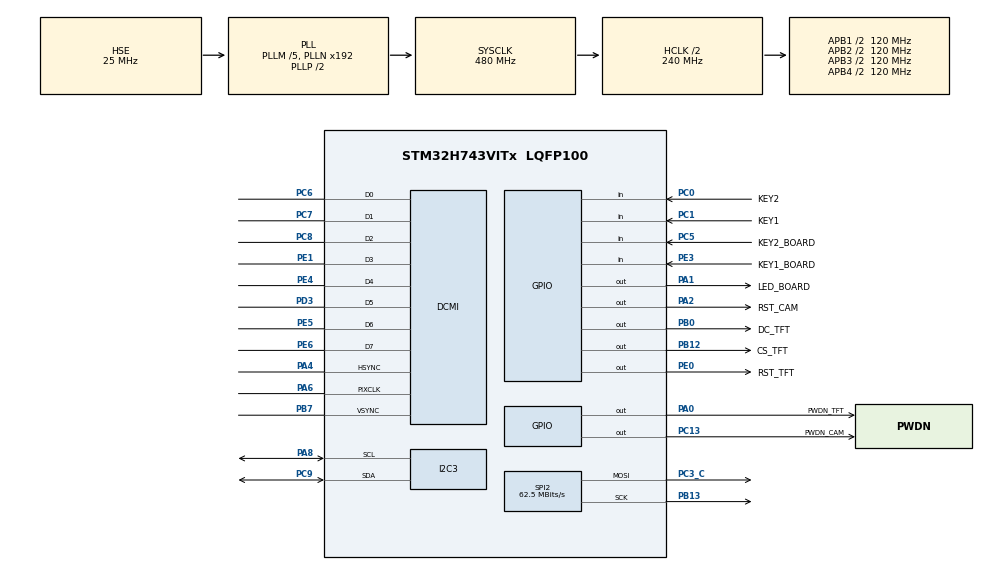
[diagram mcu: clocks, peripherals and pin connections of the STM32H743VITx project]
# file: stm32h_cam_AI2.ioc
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CORTEX_M7.CPU_DCache=Enabled
CORTEX_M7.CPU_ICache=Enabled
DCMI.JPEGMode=DCMI_JPEG_DISABLE
DCMI.PCKPolarity=DCMI_PCKPOLARITY_RISING
Dma.DCMI.1.Direction=DMA_PERIPH_TO_MEMORY
Dma.DCMI.1.EventEnable=DISABLE
Dma.DCMI.1.FIFOMode=DMA_FIFOMODE_ENABLE
Dma.DCMI.1.FIFOThreshold=DMA_FIFO_THRESHOLD_FULL
Dma.DCMI.1.Instance=DMA2_Stream1
Dma.DCMI.1.MemBurst=DMA_MBURST_SINGLE
Dma.DCMI.1.MemDataAlignment=DMA_MDATAALIGN_BYTE
Dma.DCMI.1.MemInc=DMA_MINC_ENABLE
Dma.DCMI.1.Mode=DMA_CIRCULAR
Dma.DCMI.1.PeriphBurst=DMA_PBURST_SINGLE
Dma.DCMI.1.PeriphDataAlignment=DMA_PDATAALIGN_WORD
Dma.DCMI.1.PeriphInc=DMA_PINC_DISABLE
Dma.DCMI.1.Polarity=HAL_DMAMUX_REQ_GEN_RISING
Dma.DCMI.1.Priority=DMA_PRIORITY_VERY_HIGH
Dma.DCMI.1.RequestNumber=1
Dma.DCMI.1.SignalID=NONE
Dma.DCMI.1.SyncEnable=DISABLE
Dma.DCMI.1.SyncPolarity=HAL_DMAMUX_SYNC_NO_EVENT
Dma.DCMI.1.SyncRequestNumber=1
Dma.DCMI.1.SyncSignalID=NONE
Dma.Request0=SPI2_TX
Dma.Request1=DCMI
Dma.SPI2_TX.0.Direction=DMA_MEMORY_TO_PERIPH
Dma.SPI2_TX.0.EventEnable=DISABLE
Dma.SPI2_TX.0.FIFOMode=DMA_FIFOMODE_DISABLE
Dma.SPI2_TX.0.Instance=DMA1_Stream7
Dma.SPI2_TX.0.MemDataAlignment=DMA_MDATAALIGN_BYTE
Dma.SPI2_TX.0.MemInc=DMA_MINC_ENABLE
Dma.SPI2_TX.0.Mode=DMA_NORMAL
Dma.SPI2_TX.0.PeriphDataAlignment=DMA_PDATAALIGN_BYTE
Dma.SPI2_TX.0.PeriphInc=DMA_PINC_DISABLE
Dma.SPI2_TX.0.Polarity=HAL_DMAMUX_REQ_GEN_RISING
Dma.SPI2_TX.0.Priority=DMA_PRIORITY_HIGH
Dma.SPI2_TX.0.RequestNumber=1
Dma.SPI2_TX.0.SignalID=NONE
Dma.SPI2_TX.0.SyncEnable=DISABLE
Dma.SPI2_TX.0.SyncPolarity=HAL_DMAMUX_SYNC_NO_EVENT
Dma.SPI2_TX.0.SyncRequestNumber=1
Dma.SPI2_TX.0.SyncSignalID=NONE
I2C3.Analog_Filter=I2C_ANALOGFILTER_ENABLE
I2C3.I2C_Coeff_DF=0
I2C3.I2C_Fall_Time=300
I2C3.I2C_Rise_Time=300
I2C3.Timing=0x70843A4F
Mcu.Family=STM32H7
Mcu.Name=STM32H743VITx
Mcu.Package=LQFP100
NVIC.DMA1_Stream7_IRQn=true\:0\:0\:false\:false\:true\:false\:true\:true
NVIC.DMA2_Stream1_IRQn=true\:0\:0\:false\:false\:true\:false\:true\:true
NVIC.PriorityGroup=NVIC_PRIORITYGROUP_4
NVIC.SPI2_IRQn=true\:0\:0\:false\:false\:true\:false\:true\:true
PA0.GPIO_Label=PWDN_TFT
PA0.GPIO_ModeDefaultOutputPP=GPIO_MODE_OUTPUT_OD
PA0.GPIO_PuPd=GPIO_PULLUP
PA0.PinState=GPIO_PIN_SET
PA0.Signal=GPIO_Output
PA1.GPIO_Label=LED_BOARD
PA1.Signal=GPIO_Output
PA13\ (JTMS/SWDIO).Mode=Serial_Wire
PA13\ (JTMS/SWDIO).Signal=DEBUG_JTMS-SWDIO
PA14\ (JTCK/SWCLK).Mode=Serial_Wire
PA14\ (JTCK/SWCLK).Signal=DEBUG_JTCK-SWCLK
PA2.GPIO_Label=RST_CAM
PA2.Signal=GPIO_Output
PA4.Mode=Slave_8_bits_External_Synchro
PA4.Signal=DCMI_HSYNC
PA6.Mode=Slave_8_bits_External_Synchro
PA6.Signal=DCMI_PIXCLK
PA8.Mode=I2C
PA8.Signal=I2C3_SCL
PB0.GPIO_Label=DC_TFT
PB0.GPIO_PuPd=GPIO_PULLUP
PB0.PinState=GPIO_PIN_SET
PB0.Signal=GPIO_Output
PB12.GPIO_Label=CS_TFT
PB12.GPIO_PuPd=GPIO_PULLUP
PB12.PinState=GPIO_PIN_SET
PB12.Signal=GPIO_Output
PB13.GPIO_Speed=GPIO_SPEED_FREQ_VERY_HIGH
PB13.Mode=TX_Only_Simplex_Unidirect_Master
PB13.Signal=SPI2_SCK
PB6.Signal=QUADSPI_BK1_NCS
PB7.Mode=Slave_8_bits_External_Synchro
PB7.Signal=DCMI_VSYNC
PC0.GPIO_Label=KEY2
PC0.Signal=GPIO_Input
PC1.GPIO_Label=KEY1
PC1.Signal=GPIO_Input
PC13.GPIO_Label=PWDN_CAM
PC13.PinState=GPIO_PIN_SET
PC13.Signal=GPIO_Output
PC14-OSC32_IN\ (OSC32_IN).Mode=LSE-External-Oscillator
PC14-OSC32_IN\ (OSC32_IN).Signal=RCC_OSC32_IN
PC15-OSC32_OUT\ (OSC32_OUT).Mode=LSE-External-Oscillator
PC15-OSC32_OUT\ (OSC32_OUT).Signal=RCC_OSC32_OUT
PC3_C.GPIO_Speed=GPIO_SPEED_FREQ_VERY_HIGH
PC3_C.Mode=TX_Only_Simplex_Unidirect_Master
PC3_C.Signal=SPI2_MOSI
PC5.GPIO_Label=KEY2_BOARD
PC5.Signal=GPIO_Input
PC6.Mode=Slave_8_bits_External_Synchro
PC6.Signal=DCMI_D0
PC7.Mode=Slave_8_bits_External_Synchro
PC7.Signal=DCMI_D1
PC8.Mode=Slave_8_bits_External_Synchro
PC8.Signal=DCMI_D2
PC9.Mode=I2C
PC9.Signal=I2C3_SDA
PD13.Signal=QUADSPI_BK1_IO3
PD3.Mode=Slave_8_bits_External_Synchro
PD3.Signal=DCMI_D5
PE0.GPIO_Label=RST_TFT
PE0.GPIO_PuPd=GPIO_PULLUP
PE0.PinState=GPIO_PIN_SET
PE0.Signal=GPIO_Output
PE1.Mode=Slave_8_bits_External_Synchro
PE1.Signal=DCMI_D3
PE3.GPIO_Label=KEY1_BOARD
PE3.Signal=GPIO_Input
PE4.Mode=Slave_8_bits_External_Synchro
PE4.Signal=DCMI_D4
PE5.Mode=Slave_8_bits_External_Synchro
PE5.Signal=DCMI_D6
PE6.Mode=Slave_8_bits_External_Synchro
PE6.Signal=DCMI_D7
PH0-OSC_IN\ (PH0).Mode=HSE-External-Oscillator
PH0-OSC_IN\ (PH0).Signal=RCC_OSC_IN
PH1-OSC_OUT\ (PH1).Mode=HSE-External-Oscillator
PH1-OSC_OUT\ (PH1).Signal=RCC_OSC_OUT
ProjectManager.HeapSize=0x800
ProjectManager.StackSize=0x1000
ProjectManager.TargetToolchain=STM32CubeIDE
RCC.ADCFreq_Value=125000000
RCC.APB1CLKDivider=RCC_HCLK_DIV4
RCC.APB1Freq_Value=120000000
RCC.APB2CLKDivider=RCC_HCLK_DIV2
RCC.APB2Freq_Value=120000000
RCC.APB3Freq_Value=120000000
RCC.APB4Freq_Value=120000000
RCC.CortexFreq_Value=480000000
RCC.D1PPRE=RCC_APB3_DIV2
RCC.D2PPRE1=RCC_APB1_DIV2
RCC.D2PPRE2=RCC_APB2_DIV2
RCC.D3PPRE=RCC_APB4_DIV2
RCC.DIVM1=5
RCC.DIVM2=4
RCC.DIVN1=192
RCC.DIVN2=100
RCC.DIVN3=480
RCC.DIVP2=5
RCC.DIVQ1=20
RCC.DIVQ3=8
RCC.FLatency=FLASH_LATENCY_4
RCC.HCLKFreq_Value=240000000
RCC.HPRE=RCC_HCLK_DIV2
RCC.HSE_VALUE=25000000
RCC.PLLFRACN=0
RCC.PLLM=25
RCC.PLLMUL=RCC_PLL_MUL9
RCC.PLLN=432
RCC.PLLQ=9
RCC.PLLSourceVirtual=RCC_PLLSOURCE_HSE
RCC.PRESCALERUSB=RCC_USBCLKSOURCE_PLL_DIV1_5
RCC.PWR_Regulator_Voltage_Scale=PWR_REGULATOR_VOLTAGE_SCALE0
RCC.ProductRev=revV
RCC.RTCClockSelection=RCC_RTCCLKSOURCE_LSE
RCC.SPI123CLockSelection=RCC_SPI123CLKSOURCE_PLL2
RCC.SYSCLKFreq_VALUE=480000000
RCC.SYSCLKSource=RCC_SYSCLKSOURCE_PLLCLK
RCC.SYSCLKSourceVirtual=RCC_SYSCLKSOURCE_PLLCLK
RCC.USBFreq_Value=48000000
SPI2.BaudRatePrescaler=SPI_BAUDRATEPRESCALER_2
SPI2.CalculateBaudRate=62.5 MBits/s
SPI2.DataSize=SPI_DATASIZE_8BIT
SPI2.Direction=SPI_DIRECTION_2LINES_TXONLY
SPI2.Mode=SPI_MODE_MASTER
SPI2.NSSPMode=SPI_NSS_PULSE_ENABLE
SPI2.VirtualType=VM_MASTER
STMicroelectronics.X-CUBE-AI.8.0.0.ActivationBufferSizeList=119048
STMicroelectronics.X-CUBE-AI.8.0.0.ActivationBuffers=pool0
STMicroelectronics.X-CUBE-AI.8.0.0.ActivationNames=pool0
STMicroelectronics.X-CUBE-AI.8.0.0.ActivationSizes=AI_NETWORK_DATA_ACTIVATION_1_SIZE
STMicroelectronics.X-CUBE-AI.8.0.0.ApplicationCcDeviceJjApplication=ApplicationTemplate
STMicroelectronics.X-CUBE-AI.8.0.0.HeapSize=0x800
STMicroelectronics.X-CUBE-AI.8.0.0.InternalRamActivationBufferMaxSize=AI_NETWORK_DATA_ACTIVATIONS_SIZE
STMicroelectronics.X-CUBE-AI.8.0.0.LatestDirectoryUsed-9e746e8aa5f1842845a0ca2c0252ea6c1ed22911906135166e2635fc61705ba6=/home/pavel/STM32CubeIDE/workspace_1.3.0/stm32h_cam_AI2/model
STMicroelectronics.X-CUBE-AI.8.0.0.MaximumNumberOfInputLayer=1
STMicroelectronics.X-CUBE-AI.8.0.0.MaximumNumberOfOutputLayer=1
STMicroelectronics.X-CUBE-AI.8.0.0.MaximumSizeOfInputLayer=1
STMicroelectronics.X-CUBE-AI.8.0.0.MaximumSizeOfOutputLayer=1
STMicroelectronics.X-CUBE-AI.8.0.0.ModelActualCompression-9e746e8aa5f1842845a0ca2c0252ea6c1ed22911906135166e2635fc61705ba6=0.0
STMicroelectronics.X-CUBE-AI.8.0.0.ModelCompression-9e746e8aa5f1842845a0ca2c0252ea6c1ed22911906135166e2635fc61705ba6=None
STMicroelectronics.X-CUBE-AI.8.0.0.ModelFlashOccupation-9e746e8aa5f1842845a0ca2c0252ea6c1ed22911906135166e2635fc61705ba6=872528
STMicroelectronics.X-CUBE-AI.8.0.0.ModelHashList=9e746e8aa5f1842845a0ca2c0252ea6c1ed22911906135166e2635fc61705ba6
STMicroelectronics.X-CUBE-AI.8.0.0.ModelKind-9e746e8aa5f1842845a0ca2c0252ea6c1ed22911906135166e2635fc61705ba6=KERAS
STMicroelectronics.X-CUBE-AI.8.0.0.ModelMacc-9e746e8aa5f1842845a0ca2c0252ea6c1ed22911906135166e2635fc61705ba6=5293712
STMicroelectronics.X-CUBE-AI.8.0.0.ModelName-9e746e8aa5f1842845a0ca2c0252ea6c1ed22911906135166e2635fc61705ba6=network
STMicroelectronics.X-CUBE-AI.8.0.0.ModelNameList=network
STMicroelectronics.X-CUBE-AI.8.0.0.ModelRamOccupation-9e746e8aa5f1842845a0ca2c0252ea6c1ed22911906135166e2635fc61705ba6=119048
STMicroelectronics.X-CUBE-AI.8.0.0.ModelStructureFile-9e746e8aa5f1842845a0ca2c0252ea6c1ed22911906135166e2635fc61705ba6=model/model80x80.h5
STMicroelectronics.X-CUBE-AI.8.0.0.ModelType-9e746e8aa5f1842845a0ca2c0252ea6c1ed22911906135166e2635fc61705ba6=Saved model
STMicroelectronics.X-CUBE-AI.8.0.0.ReadyForCodeGeneration=true
STMicroelectronics.X-CUBE-AI.8.0.0.StackSize=0x1000
STMicroelectronics.X-CUBE-AI.8.0.0.WorkingBufferStartAddrList=0xFFFFFFFF
STMicroelectronics.X-CUBE-AI.8.0.0.XAaCUBEAaAICcArtificialOoIntelligenceJjCore=true
STMicroelectronics.X-CUBE-AI.8.0.0.copyWeightToRam=false
STMicroelectronics.X-CUBE-AI.8.0.0.copyWeightToRam-9e746e8aa5f1842845a0ca2c0252ea6c1ed22911906135166e2635fc61705ba6=false
STMicroelectronics.X-CUBE-AI.8.0.0.customLayerConfigEnabled=false
STMicroelectronics.X-CUBE-AI.8.0.0.customLayerConfigEnabled-9e746e8aa5f1842845a0ca2c0252ea6c1ed22911906135166e2635fc61705ba6=false
STMicroelectronics.X-CUBE-AI.8.0.0.useInputAllocation=true
STMicroelectronics.X-CUBE-AI.8.0.0.useInputAllocation-9e746e8aa5f1842845a0ca2c0252ea6c1ed22911906135166e2635fc61705ba6=true
STMicroelectronics.X-CUBE-AI.8.0.0.useOutputAllocation=true
STMicroelectronics.X-CUBE-AI.8.0.0.useOutputAllocation-9e746e8aa5f1842845a0ca2c0252ea6c1ed22911906135166e2635fc61705ba6=true
VP_CRC_VS_CRC.Mode=CRC_Activate
VP_RTC_VS_RTC_Activate.Mode=RTC_Enabled
VP_STMicroelectronics.X-CUBE-AI_VS_ArtificialOoIntelligenceJjXAaCUBEAaAI_8.0.0.Mode=ArtificialOoIntelligenceJjXAaCUBEAaAI
VP_STMicroelectronics.X-CUBE-AI_VS_DeviceJjApplication_8.0.0.Mode=DeviceJjApplication
board=custom

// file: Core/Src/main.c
/* USER CODE BEGIN Header */
/**
  ******************************************************************************
  * @file           : main.c
  * @brief          : Main program body
  ******************************************************************************
  * @attention
  *
  * Copyright (c) 2022 STMicroelectronics.
  * All rights reserved.
  *
  * This software is licensed under terms that can be found in the LICENSE file
  * in the root directory of this software component.
  * If no LICENSE file comes with this software, it is provided AS-IS.
  *
  ******************************************************************************
  */
/* USER CODE END Header */
#include "main.h"
#include "app_x-cube-ai.h"

/* USER CODE BEGIN Includes */
#include "stdio.h"
#include "network.h"
#include "network_data.h"
#include "../Src/OV2640/ov2640.h"
#include "../Src/OV2640/ov2640_regs.h"
/* USER CODE END Includes */

CRC_HandleTypeDef hcrc;

DCMI_HandleTypeDef hdcmi;
DMA_HandleTypeDef hdma_dcmi;

I2C_HandleTypeDef hi2c3;

RTC_HandleTypeDef hrtc;

SPI_HandleTypeDef hspi2;
DMA_HandleTypeDef hdma_spi2_tx;

/* USER CODE BEGIN PV */
sensor_t sensor = {0}; // Структура камеры
// Определение фрейм буфера для камеры
// Организация буфера внутри дисплея. От верхнего левого угла по длинной стороне (т.е сначала запоняется верхняя длинная сторона)
#if defined RGB565_128X128
__attribute__((section(".frame_buffer")))int8_t imag[RGB565_128X128_BUF_SIZE] = {0};
#elif defined RGB565_160X160
__attribute__((section(".frame_buffer")))int8_t imag[RGB565_160X160_BUF_SIZE] = {0};
#elif defined RGB565_QVGA
__attribute__((section(".frame_buffer")))int8_t imag[RGB565_QVGA_BUF_SIZE] = {0};
#elif defined RGB565_VGA
__attribute__((section(".frame_buffer")))int8_t imag[RGB565_VGA_BUF_SIZE] = {0};
#endif

/* USER CODE END PV */

void SystemClock_Config(void);
static void MX_GPIO_Init(void);
static void MX_DCMI_Init(void);
static void MX_DMA_Init(void);
static void MX_SPI2_Init(void);
static void MX_I2C3_Init(void);
static void MX_RTC_Init(void);
static void MX_CRC_Init(void);
/* USER CODE BEGIN PFP */
static void sensor_setting(I2C_HandleTypeDef *camera_i2c);
/* USER CODE END PFP */

/* USER CODE BEGIN 0 */
static void init_AI(void);
static uint8_t run_AI(uint16_t *frameBuffer);
static float input[80][80][3];
static float output[2];
static const char lable[2][11] = {"CAT",
								  "DOG"};
// Инициализация нейросети
/* Global handle to reference the instantiated C-model */
static ai_handle network = AI_HANDLE_NULL;

/* Global c-array to handle the activations buffer */
AI_ALIGNED(32)
static ai_u8 activations[AI_NETWORK_DATA_ACTIVATIONS_SIZE];
/* Array of pointer to manage the model's input/output tensors */
static ai_buffer *ai_input;
static ai_buffer *ai_output;

void init_AI()
{
	  ai_error err;
	  char buf[200];
	  /* Create a local array with the addresses of the activations buffers */
	  const ai_handle act_addr[] = { activations };
	  /* Create an instance of the model */
	  err = ai_network_create_and_init(&network, act_addr, NULL);
	  if (err.type != AI_ERROR_NONE) {
		sprintf(buf,"Err create:%d",(int)err.code);
		ILI9341_DrawText(buf, FONT2, 220,1*hFONT2+1, BLACK, LIGHTGREY);
		} else ILI9341_DrawText("Create OK", FONT2, 220, 1*hFONT2+1, BLACK, LIGHTGREY);
	  /* Reteive pointers to the model's input/output tensors */
	   ai_input = ai_network_inputs_get(network, NULL);
	   ai_output = ai_network_outputs_get(network, NULL);

}
// Запуск нейросети
static uint8_t run_AI(uint16_t *frameBuffer)
{
	char buf[200];
// Подготовка данных для нейросети из изображения полученного от камеры.
// В буфере лежит картинка 160(строки) на 160(столбцы) по 2 байта на точку ПО СТРОЧНО!
// Нейросеть всасывает картинку 80х80 (верхний левый угол) с прореживанием!!
	for(int i = 0; i < 80; i ++)  // Строки
	{
		for(int j = 0; j < 80; j ++) // Столбцы
		{
			uint16_t RGB_sample = frameBuffer[(i*128*2)+j*2]; // берется каждая вторая точка из картинки 160х160
			//uint16_t RGB_sample = frameBuffer[40*2+40*2*(i*2*2)+(j*2*2)];
			float B = (float)(RGB_sample & 0x1f) / 32.0;
			float G = (float)((RGB_sample >> 6) & 0x1f) / 32.0;
			float R = (float)(RGB_sample >> 11) / 32.0;
			input[i][j][0] = (R - 0.1307) / 0.3081;
			input[i][j][1] = (G - 0.1307) / 0.3081;
			input[i][j][2] = (B - 0.1307) / 0.3081;
		}
	}

	ai_error err;
	ai_i32 batch;

	  /* Update IO handlers with the data payload */
	  ai_input[0].data = AI_HANDLE_PTR(input);
	  ai_output[0].data = AI_HANDLE_PTR(output);

	  SCB_EnableDCache();
	  batch = ai_network_run(network, &ai_input[0], &ai_output[0]);
      SCB_DisableDCache();
	  if (batch != 1) {
	    err = ai_network_get_error(network);
	    sprintf(buf,"Err type:0x%x code:0x%x",(int)err.type,(int)err.code);
	   	ILI9341_DrawText(buf, FONT2, 220, 2*hFONT2+1, BLACK, LIGHTGREY);
	    } else ILI9341_DrawText("Run OK", FONT2, 220, 2*hFONT2+1, BLACK, LIGHTGREY);
	if (output[0]>output[1]) return 0; else return 1;

}

/* USER CODE END 0 */

int main(void)
{
  /* USER CODE BEGIN 1 */
  char buf[64];
  /* USER CODE END 1 */

  /* Enable I-Cache---------------------------------------------------------*/
  SCB_EnableICache();

  /* Enable D-Cache---------------------------------------------------------*/
  SCB_EnableDCache();

  /* MCU Configuration--------------------------------------------------------*/

  /* Reset of all peripherals, Initializes the Flash interface and the Systick. */
  HAL_Init();

  /* Configure the system clock */
  SystemClock_Config();

  /* USER CODE BEGIN SysInit */
 // Не правильно сначала должно быть инициализация MX_DMA_Init(); потом   MX_DCMI_Init();
  MX_DMA_Init();
  MX_DCMI_Init();
  /* USER CODE END SysInit */

  /* Initialize all configured peripherals */
  MX_GPIO_Init();
  MX_DCMI_Init();
  MX_DMA_Init();
  MX_SPI2_Init();
  MX_I2C3_Init();
  MX_RTC_Init();
  MX_CRC_Init();
 // MX_X_CUBE_AI_Init();
  /* USER CODE BEGIN 2 */
  //  MX_X_CUBE_AI_Init(); НЕОБХОДИМО ЗАКОМЕНТИРОВАТЬ, нейросеть создается функцией  init_AI(); ниже по коду
   HAL_GPIO_WritePin(RST_CAM_GPIO_Port, RST_CAM_Pin, GPIO_PIN_SET);
   HAL_GPIO_WritePin(PWDN_CAM_GPIO_Port, PWDN_CAM_Pin, GPIO_PIN_RESET);
   sensor_setting(&hi2c3);

  ILI9341_Init();
//  HAL_GPIO_WritePin(LED_BOARD_GPIO_Port, LED_BOARD_Pin, GPIO_PIN_RESET); // Установить светодиод  1
  // Стартовый экран
  HAL_GPIO_WritePin(PWDN_TFT_GPIO_Port, PWDN_TFT_Pin, GPIO_PIN_RESET);     // Включить подсветку дисплея
  ILI9341_FillScreen(LIGHTGREY);
  ILI9341_SetRotation(SCREEN_HORIZONTAL_1);
  ILI9341_DrawRectangle(0,240-2*hFONT2,320-1, 2*hFONT2, WHITE); // Область в две строки для вывода инфы
  ILI9341_DrawHLine(0, 240-2*hFONT2, 320, RED);
  sprintf(buf,"Software: %s Hardware: %s",SOFTWARE, HARDWARE);
  ILI9341_DrawText(buf, FONT2, 130, 240-1*hFONT2+1, RED, WHITE);
  ILI9341_DrawText("Start", FONT2, 220,0*hFONT2+1, BLACK, LIGHTGREY);

  uint32_t old_time, fps;
  bool pause=false;     // есть ли пауза
  bool key2WasUp=true;  // была ли кнопка отпущена?
  bool key2IsUp;        // текущее состояние кнопки
  bool frame=false;     // есть ли рамка
  bool key1WasUp=true;  // была ли кнопка отпущена?
  bool key1IsUp;        // текущее состояние кнопки

  init_AI(); // Создание нейросети
  /* USER CODE END 2 */

  /* Infinite loop */
  /* USER CODE BEGIN WHILE */
  while (1)
  {
	  // Кнопка Select ставит процесс на паузу (тригерная кнопка)
	  key2IsUp=HAL_GPIO_ReadPin(KEY2_GPIO_Port, KEY2_Pin);
	  if (key2WasUp && !key2IsUp) {
		  key2IsUp=HAL_GPIO_ReadPin(KEY2_GPIO_Port, KEY2_Pin);
	      if (!key2IsUp) { pause=!pause; }
	  }
	  key2WasUp=key2IsUp;

	  // Кнопка Enter вывод рамки где работает нейросеть (тригерная кнопка)
	  key1IsUp=HAL_GPIO_ReadPin(KEY1_GPIO_Port, KEY1_Pin);
	  if (key1WasUp && !key1IsUp) {
		  key1IsUp=HAL_GPIO_ReadPin(KEY1_GPIO_Port, KEY1_Pin);
	      if (!key1IsUp) { frame=!frame; }
	  }
	  key1WasUp=key1IsUp;

      if (!pause){ // если нет паузы
	         old_time=HAL_GetTick();
		     sensor.snapshot(hdcmi, (int32_t *)imag);
		     ILI9341_render160x160((uint16_t *)imag,0,0,160,160,frame);
		     uint8_t number = run_AI((uint16_t*)imag); // Запуск нейросети
		     fps=HAL_GetTick()-old_time;
		     sprintf(buf,"FPS=%d ",(int)(1000/fps));
		     ILI9341_DrawText(buf, FONT2, 2, 240-1*hFONT2+1, BLACK, WHITE);
		     sprintf(buf,"Output: %s(%.2f) / %s(%.2f)",lable[0],output[0],lable[1],output[1]);
		     ILI9341_DrawText(buf, FONT2,0, 240-2*hFONT2+1, BLACK, WHITE);
		     ILI9341_DrawText(lable[number], FONT4,220, 80, BLUE, LIGHTGREY);
      }
     //  MX_X_CUBE_AI_Process(); НЕОБХОДИМО ЗАКОМЕНТИРОВАТЬ, нейросеть запускается кодом выше
    /* USER CODE END WHILE */

 // MX_X_CUBE_AI_Process();
  }
}

void SystemClock_Config(void)
{
  RCC_OscInitTypeDef RCC_OscInitStruct = {0};
  RCC_ClkInitTypeDef RCC_ClkInitStruct = {0};

  /** Supply configuration update enable
  */
  HAL_PWREx_ConfigSupply(PWR_LDO_SUPPLY);
  /** Configure the main internal regulator output voltage
  */
  __HAL_PWR_VOLTAGESCALING_CONFIG(PWR_REGULATOR_VOLTAGE_SCALE0);

  while(!__HAL_PWR_GET_FLAG(PWR_FLAG_VOSRDY)) {}
  /** Configure LSE Drive Capability
  */
  HAL_PWR_EnableBkUpAccess();
  __HAL_RCC_LSEDRIVE_CONFIG(RCC_LSEDRIVE_LOW);
  /** Macro to configure the PLL clock source
  */
  __HAL_RCC_PLL_PLLSOURCE_CONFIG(RCC_PLLSOURCE_HSE);
  /** Initializes the RCC Oscillators according to the specified parameters
  * in the RCC_OscInitTypeDef structure.
  */
  RCC_OscInitStruct.OscillatorType = RCC_OSCILLATORTYPE_HSE|RCC_OSCILLATORTYPE_LSE;
  RCC_OscInitStruct.HSEState = RCC_HSE_ON;
  RCC_OscInitStruct.LSEState = RCC_LSE_ON;
  RCC_OscInitStruct.PLL.PLLState = RCC_PLL_ON;
  RCC_OscInitStruct.PLL.PLLSource = RCC_PLLSOURCE_HSE;
  RCC_OscInitStruct.PLL.PLLM = 5;
  RCC_OscInitStruct.PLL.PLLN = 192;
  RCC_OscInitStruct.PLL.PLLP = 2;
  RCC_OscInitStruct.PLL.PLLQ = 20;
  RCC_OscInitStruct.PLL.PLLR = 2;
  RCC_OscInitStruct.PLL.PLLRGE = RCC_PLL1VCIRANGE_2;
  RCC_OscInitStruct.PLL.PLLVCOSEL = RCC_PLL1VCOWIDE;
  RCC_OscInitStruct.PLL.PLLFRACN = 0;
  if (HAL_RCC_OscConfig(&RCC_OscInitStruct) != HAL_OK)
  {
    Error_Handler();
  }
  /** Initializes the CPU, AHB and APB buses clocks
  */
  RCC_ClkInitStruct.ClockType = RCC_CLOCKTYPE_HCLK|RCC_CLOCKTYPE_SYSCLK
                              |RCC_CLOCKTYPE_PCLK1|RCC_CLOCKTYPE_PCLK2
                              |RCC_CLOCKTYPE_D3PCLK1|RCC_CLOCKTYPE_D1PCLK1;
  RCC_ClkInitStruct.SYSCLKSource = RCC_SYSCLKSOURCE_PLLCLK;
  RCC_ClkInitStruct.SYSCLKDivider = RCC_SYSCLK_DIV1;
  RCC_ClkInitStruct.AHBCLKDivider = RCC_HCLK_DIV2;
  RCC_ClkInitStruct.APB3CLKDivider = RCC_APB3_DIV2;
  RCC_ClkInitStruct.APB1CLKDivider = RCC_APB1_DIV2;
  RCC_ClkInitStruct.APB2CLKDivider = RCC_APB2_DIV2;
  RCC_ClkInitStruct.APB4CLKDivider = RCC_APB4_DIV2;

  if (HAL_RCC_ClockConfig(&RCC_ClkInitStruct, FLASH_LATENCY_4) != HAL_OK)
  {
    Error_Handler();
  }
}

static void MX_CRC_Init(void)
{

  hcrc.Instance = CRC;
  hcrc.Init.DefaultPolynomialUse = DEFAULT_POLYNOMIAL_ENABLE;
  hcrc.Init.DefaultInitValueUse = DEFAULT_INIT_VALUE_ENABLE;
  hcrc.Init.InputDataInversionMode = CRC_INPUTDATA_INVERSION_NONE;
  hcrc.Init.OutputDataInversionMode = CRC_OUTPUTDATA_INVERSION_DISABLE;
  hcrc.InputDataFormat = CRC_INPUTDATA_FORMAT_BYTES;
  if (HAL_CRC_Init(&hcrc) != HAL_OK)
  {
    Error_Handler();
  }

}

static void MX_DCMI_Init(void)
{

  hdcmi.Instance = DCMI;
  hdcmi.Init.SynchroMode = DCMI_SYNCHRO_HARDWARE;
  hdcmi.Init.PCKPolarity = DCMI_PCKPOLARITY_RISING;
  hdcmi.Init.VSPolarity = DCMI_VSPOLARITY_LOW;
  hdcmi.Init.HSPolarity = DCMI_HSPOLARITY_LOW;
  hdcmi.Init.CaptureRate = DCMI_CR_ALL_FRAME;
  hdcmi.Init.ExtendedDataMode = DCMI_EXTEND_DATA_8B;
  hdcmi.Init.JPEGMode = DCMI_JPEG_DISABLE;
  hdcmi.Init.ByteSelectMode = DCMI_BSM_ALL;
  hdcmi.Init.ByteSelectStart = DCMI_OEBS_ODD;
  hdcmi.Init.LineSelectMode = DCMI_LSM_ALL;
  hdcmi.Init.LineSelectStart = DCMI_OELS_ODD;
  if (HAL_DCMI_Init(&hdcmi) != HAL_OK)
  {
    Error_Handler();
  }

}

static void MX_I2C3_Init(void)
{

  hi2c3.Instance = I2C3;
  hi2c3.Init.Timing = 0x70843A4F;
  hi2c3.Init.OwnAddress1 = 0;
  hi2c3.Init.AddressingMode = I2C_ADDRESSINGMODE_7BIT;
  hi2c3.Init.DualAddressMode = I2C_DUALADDRESS_DISABLE;
  hi2c3.Init.OwnAddress2 = 0;
  hi2c3.Init.OwnAddress2Masks = I2C_OA2_NOMASK;
  hi2c3.Init.GeneralCallMode = I2C_GENERALCALL_DISABLE;
  hi2c3.Init.NoStretchMode = I2C_NOSTRETCH_DISABLE;
  if (HAL_I2C_Init(&hi2c3) != HAL_OK)
  {
    Error_Handler();
  }
  /** Configure Analogue filter
  */
  if (HAL_I2CEx_ConfigAnalogFilter(&hi2c3, I2C_ANALOGFILTER_ENABLE) != HAL_OK)
  {
    Error_Handler();
  }
  /** Configure Digital filter
  */
  if (HAL_I2CEx_ConfigDigitalFilter(&hi2c3, 0) != HAL_OK)
  {
    Error_Handler();
  }

}

static void MX_RTC_Init(void)
{

  /** Initialize RTC Only
  */
  hrtc.Instance = RTC;
  hrtc.Init.HourFormat = RTC_HOURFORMAT_24;
  hrtc.Init.AsynchPrediv = 127;
  hrtc.Init.SynchPrediv = 255;
  hrtc.Init.OutPut = RTC_OUTPUT_DISABLE;
  hrtc.Init.OutPutPolarity = RTC_OUTPUT_POLARITY_HIGH;
  hrtc.Init.OutPutType = RTC_OUTPUT_TYPE_OPENDRAIN;
  hrtc.Init.OutPutRemap = RTC_OUTPUT_REMAP_NONE;
  if (HAL_RTC_Init(&hrtc) != HAL_OK)
  {
    Error_Handler();
  }

}

static void MX_SPI2_Init(void)
{

  /* SPI2 parameter configuration*/
  hspi2.Instance = SPI2;
  hspi2.Init.Mode = SPI_MODE_MASTER;
  hspi2.Init.Direction = SPI_DIRECTION_2LINES_TXONLY;
  hspi2.Init.DataSize = SPI_DATASIZE_8BIT;
  hspi2.Init.CLKPolarity = SPI_POLARITY_LOW;
  hspi2.Init.CLKPhase = SPI_PHASE_1EDGE;
  hspi2.Init.NSS = SPI_NSS_SOFT;
  hspi2.Init.BaudRatePrescaler = SPI_BAUDRATEPRESCALER_2;
  hspi2.Init.FirstBit = SPI_FIRSTBIT_MSB;
  hspi2.Init.TIMode = SPI_TIMODE_DISABLE;
  hspi2.Init.CRCCalculation = SPI_CRCCALCULATION_DISABLE;
  hspi2.Init.CRCPolynomial = 0x0;
  hspi2.Init.NSSPMode = SPI_NSS_PULSE_ENABLE;
  hspi2.Init.NSSPolarity = SPI_NSS_POLARITY_LOW;
  hspi2.Init.FifoThreshold = SPI_FIFO_THRESHOLD_01DATA;
  hspi2.Init.TxCRCInitializationPattern = SPI_CRC_INITIALIZATION_ALL_ZERO_PATTERN;
  hspi2.Init.RxCRCInitializationPattern = SPI_CRC_INITIALIZATION_ALL_ZERO_PATTERN;
  hspi2.Init.MasterSSIdleness = SPI_MASTER_SS_IDLENESS_00CYCLE;
  hspi2.Init.MasterInterDataIdleness = SPI_MASTER_INTERDATA_IDLENESS_00CYCLE;
  hspi2.Init.MasterReceiverAutoSusp = SPI_MASTER_RX_AUTOSUSP_DISABLE;
  hspi2.Init.MasterKeepIOState = SPI_MASTER_KEEP_IO_STATE_DISABLE;
  hspi2.Init.IOSwap = SPI_IO_SWAP_DISABLE;
  if (HAL_SPI_Init(&hspi2) != HAL_OK)
  {
    Error_Handler();
  }

}

static void MX_DMA_Init(void)
{

  /* DMA controller clock enable */
  __HAL_RCC_DMA1_CLK_ENABLE();
  __HAL_RCC_DMA2_CLK_ENABLE();

  /* DMA interrupt init */
  /* DMA1_Stream7_IRQn interrupt configuration */
  HAL_NVIC_SetPriority(DMA1_Stream7_IRQn, 0, 0);
  HAL_NVIC_EnableIRQ(DMA1_Stream7_IRQn);
  /* DMA2_Stream1_IRQn interrupt configuration */
  HAL_NVIC_SetPriority(DMA2_Stream1_IRQn, 0, 0);
  HAL_NVIC_EnableIRQ(DMA2_Stream1_IRQn);

}

static void MX_GPIO_Init(void)
{
  GPIO_InitTypeDef GPIO_InitStruct = {0};

  /* GPIO Ports Clock Enable */
  __HAL_RCC_GPIOE_CLK_ENABLE();
  __HAL_RCC_GPIOC_CLK_ENABLE();
  __HAL_RCC_GPIOH_CLK_ENABLE();
  __HAL_RCC_GPIOA_CLK_ENABLE();
  __HAL_RCC_GPIOB_CLK_ENABLE();
  __HAL_RCC_GPIOD_CLK_ENABLE();

  /*Configure GPIO pin Output Level */
  HAL_GPIO_WritePin(PWDN_CAM_GPIO_Port, PWDN_CAM_Pin, GPIO_PIN_SET);

  /*Configure GPIO pin Output Level */
  HAL_GPIO_WritePin(PWDN_TFT_GPIO_Port, PWDN_TFT_Pin, GPIO_PIN_SET);

  /*Configure GPIO pin Output Level */
  HAL_GPIO_WritePin(GPIOA, LED_BOARD_Pin|RST_CAM_Pin, GPIO_PIN_RESET);

  /*Configure GPIO pin Output Level */
  HAL_GPIO_WritePin(GPIOB, DC_TFT_Pin|CS_TFT_Pin, GPIO_PIN_SET);

  /*Configure GPIO pin Output Level */
  HAL_GPIO_WritePin(RST_TFT_GPIO_Port, RST_TFT_Pin, GPIO_PIN_SET);

  /*Configure GPIO pin : KEY1_BOARD_Pin */
  GPIO_InitStruct.Pin = KEY1_BOARD_Pin;
  GPIO_InitStruct.Mode = GPIO_MODE_INPUT;
  GPIO_InitStruct.Pull = GPIO_NOPULL;
  HAL_GPIO_Init(KEY1_BOARD_GPIO_Port, &GPIO_InitStruct);

  /*Configure GPIO pin : PWDN_CAM_Pin */
  GPIO_InitStruct.Pin = PWDN_CAM_Pin;
  GPIO_InitStruct.Mode = GPIO_MODE_OUTPUT_PP;
  GPIO_InitStruct.Pull = GPIO_NOPULL;
  GPIO_InitStruct.Speed = GPIO_SPEED_FREQ_LOW;
  HAL_GPIO_Init(PWDN_CAM_GPIO_Port, &GPIO_InitStruct);

  /*Configure GPIO pins : KEY2_Pin KEY1_Pin KEY2_BOARD_Pin */
  GPIO_InitStruct.Pin = KEY2_Pin|KEY1_Pin|KEY2_BOARD_Pin;
  GPIO_InitStruct.Mode = GPIO_MODE_INPUT;
  GPIO_InitStruct.Pull = GPIO_NOPULL;
  HAL_GPIO_Init(GPIOC, &GPIO_InitStruct);

  /*Configure GPIO pin : PWDN_TFT_Pin */
  GPIO_InitStruct.Pin = PWDN_TFT_Pin;
  GPIO_InitStruct.Mode = GPIO_MODE_OUTPUT_OD;
  GPIO_InitStruct.Pull = GPIO_PULLUP;
  GPIO_InitStruct.Speed = GPIO_SPEED_FREQ_LOW;
  HAL_GPIO_Init(PWDN_TFT_GPIO_Port, &GPIO_InitStruct);

  /*Configure GPIO pins : LED_BOARD_Pin RST_CAM_Pin */
  GPIO_InitStruct.Pin = LED_BOARD_Pin|RST_CAM_Pin;
  GPIO_InitStruct.Mode = GPIO_MODE_OUTPUT_PP;
  GPIO_InitStruct.Pull = GPIO_NOPULL;
  GPIO_InitStruct.Speed = GPIO_SPEED_FREQ_LOW;
  HAL_GPIO_Init(GPIOA, &GPIO_InitStruct);

  /*Configure GPIO pins : DC_TFT_Pin CS_TFT_Pin */
  GPIO_InitStruct.Pin = DC_TFT_Pin|CS_TFT_Pin;
  GPIO_InitStruct.Mode = GPIO_MODE_OUTPUT_PP;
  GPIO_InitStruct.Pull = GPIO_PULLUP;
  GPIO_InitStruct.Speed = GPIO_SPEED_FREQ_LOW;
  HAL_GPIO_Init(GPIOB, &GPIO_InitStruct);

  /*Configure GPIO pin : PD13 */
  GPIO_InitStruct.Pin = GPIO_PIN_13;
  GPIO_InitStruct.Mode = GPIO_MODE_AF_PP;
  GPIO_InitStruct.Pull = GPIO_NOPULL;
  GPIO_InitStruct.Speed = GPIO_SPEED_FREQ_LOW;
  GPIO_InitStruct.Alternate = GPIO_AF9_QUADSPI;
  HAL_GPIO_Init(GPIOD, &GPIO_InitStruct);

  /*Configure GPIO pin : PB6 */
  GPIO_InitStruct.Pin = GPIO_PIN_6;
  GPIO_InitStruct.Mode = GPIO_MODE_AF_PP;
  GPIO_InitStruct.Pull = GPIO_NOPULL;
  GPIO_InitStruct.Speed = GPIO_SPEED_FREQ_LOW;
  GPIO_InitStruct.Alternate = GPIO_AF10_QUADSPI;
  HAL_GPIO_Init(GPIOB, &GPIO_InitStruct);

  /*Configure GPIO pin : RST_TFT_Pin */
  GPIO_InitStruct.Pin = RST_TFT_Pin;
  GPIO_InitStruct.Mode = GPIO_MODE_OUTPUT_PP;
  GPIO_InitStruct.Pull = GPIO_PULLUP;
  GPIO_InitStruct.Speed = GPIO_SPEED_FREQ_LOW;
  HAL_GPIO_Init(RST_TFT_GPIO_Port, &GPIO_InitStruct);

}

/* USER CODE BEGIN 4 */
static void sensor_setting(I2C_HandleTypeDef *camera_i2c)
{
	  sensor.bus.i2c = camera_i2c;
	  ov2640_init(&sensor);

	  sensor.write_reg(&sensor, BANK_SEL, 0x01);
	  if(sensor.read_reg(&sensor, REG_PID) != sensor.pid)
	  {
		  Error_Handler();
	  }
	  if(sensor.read_reg(&sensor, REG_VER) != sensor.rev)
	  {
		  Error_Handler();
	  }

	  sensor.pixformat = PIXFORMAT_RGB565;
	#if defined RGB565_128X128
	  sensor.framesize = FRAMESIZE_128X128;
	#elif defined RGB565_160X160
	  sensor.framesize = FRAMESIZE_160X160;
	#elif defined RGB565_QVGA
	sensor.framesize = FRAMESIZE_QVGA;
	#elif defined RGB565_VGA
	sensor.framesize = FRAMESIZE_VGA;
	#endif

	  sensor.contrast_level = 1;   // 2
	  sensor.brightness_level = 2; // 2
	  sensor.saturation_level = 2; // 2

	  if(sensor.reset(&sensor) == -1)
	  {
		  Error_Handler();
	  }
	  if(sensor.set(&sensor) == -1)
	  {
		  Error_Handler();
	  }
}

/* USER CODE END 4 */

void Error_Handler(void)
{
  __disable_irq();
  while (1)
  {
  }
}
